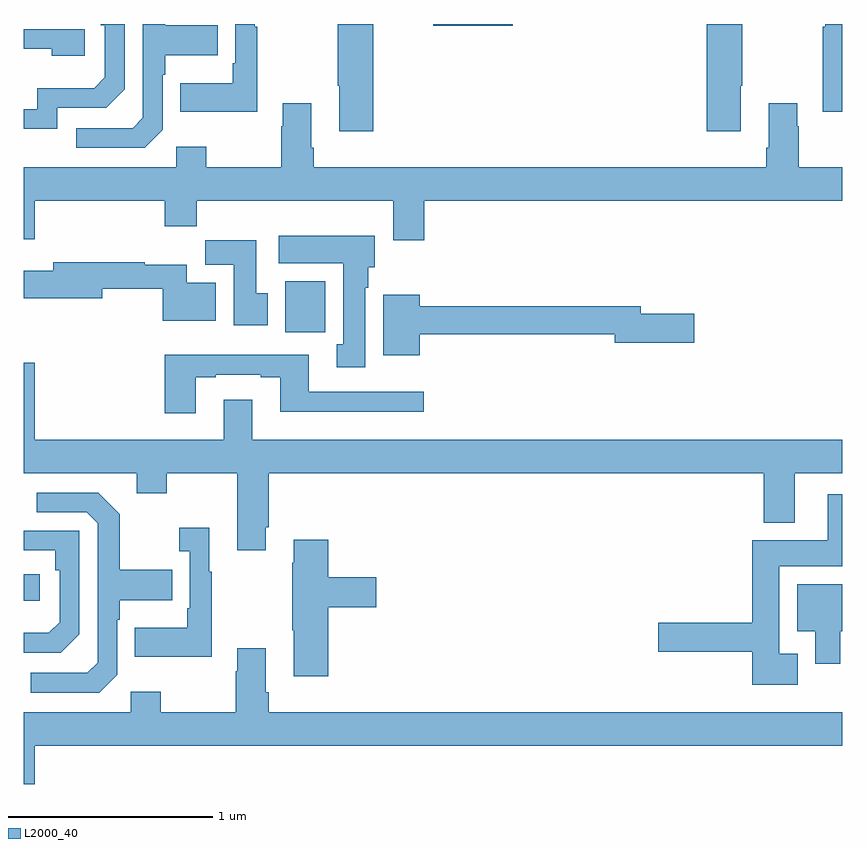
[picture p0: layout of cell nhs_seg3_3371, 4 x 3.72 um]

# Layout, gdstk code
import gdstk
lib = gdstk.Library(unit=1e-6, precision=1e-09)
def R(c, l, rs):  # rectangles x0, y0, x1, y1
    for r in rs: c.add(gdstk.rectangle(r[:2], r[2:], *l))
def P(c, l, *ps):  # polygons
    for p in ps: c.add(gdstk.Polygon(p, *l))
L2000_40 = (2000, 40)

nhs_seg3_3371 = lib.new_cell('nhs_seg3_3371')
R(nhs_seg3_3371, L2000_40, [(285,745.58,285.076,745.71), (286.277,746.892,286.473,747.142), (287,748.391,287.389,748.4)])
P(nhs_seg3_3371, L2000_40, [(288.505,748.099),(288.513,748.099),(288.513,748.4),(288.338,748.4),(288.338,747.876),(288.505,747.876)],
  [(285.162,747.99),(285.402,747.99),(285.492,748.08),(285.492,748.4),(285.376,748.4),(285.376,748.394),(285.396,748.394),(285.396,748.14),(285.343,748.087),(285.066,748.087),(285.066,747.984),(285,747.984),(285,747.888),(285.162,747.888)],
  [(285.678,747.882),(285.678,748.151),(285.691,748.151),(285.691,748.247),(285.947,748.247),(285.947,748.395),(285.691,748.395),(285.691,748.4),(285.582,748.4),(285.582,747.942),(285.531,747.891),(285.255,747.891),(285.255,747.795),(285.591,747.795)],
  [(286.141,748.387),(286.129,748.387),(286.129,748.4),(286.032,748.4),(286.032,748.207),(286.02,748.207),(286.02,748.111),(285.763,748.111),(285.763,747.971),(286.141,747.971)],
  [(289,748.4),(288.917,748.4),(288.917,748.387),(288.906,748.387),(288.906,747.971),(289,747.971)],
  [(286.709,748.4),(286.534,748.4),(286.534,748.099),(286.541,748.099),(286.541,747.876),(286.709,747.876)],
  [(285.298,748.374),(285,748.374),(285,748.278),(285.137,748.278),(285.137,748.244),(285.298,748.244)],
  [(286.958,747.536),(289,747.536),(289,747.7),(288.789,747.7),(288.789,747.899),(288.781,747.899),(288.781,748.012),(288.641,748.012),(288.641,747.796),(288.629,747.796),(288.629,747.7),(286.418,747.7),(286.418,747.796),(286.405,747.796),(286.405,748.012),(286.265,748.012),(286.265,747.899),(286.258,747.899),(286.258,747.7),(285.891,747.7),(285.891,747.799),(285.744,747.799),(285.744,747.7),(285,747.7),(285,747.348),(285.052,747.348),(285.052,747.536),(285.689,747.536),(285.689,747.412),(285.845,747.412),(285.845,747.536),(286.805,747.536),(286.805,747.342),(286.958,747.342)],
  [(286.669,747.11),(286.684,747.11),(286.684,747.21),(286.714,747.21),(286.714,747.364),(286.245,747.364),(286.245,747.23),(286.562,747.23),(286.562,746.833),(286.529,746.833),(286.529,746.721),(286.669,746.721)],
  [(286.192,747.084),(286.135,747.084),(286.135,747.343),(285.886,747.343),(285.886,747.224),(286.025,747.224),(286.025,746.928),(286.192,746.928)],
  [(285.937,747.136),(285.796,747.136),(285.796,747.224),(285.59,747.224),(285.59,747.235),(285.143,747.235),(285.143,747.193),(285,747.193),(285,747.059),(285.382,747.059),(285.382,747.106),(285.679,747.106),(285.679,746.948),(285.937,746.948)],
  [(286.936,746.884),(287.888,746.884),(287.888,746.842),(288.277,746.842),(288.277,746.984),(288.016,746.984),(288.016,747.02),(286.936,747.02),(286.936,747.076),(286.757,747.076),(286.757,746.78),(286.936,746.78)],
  [(285.841,746.673),(285.937,746.673),(285.937,746.685),(286.157,746.685),(286.157,746.673),(286.253,746.673),(286.253,746.504),(286.954,746.504),(286.954,746.601),(286.393,746.601),(286.393,746.782),(285.689,746.782),(285.689,746.496),(285.841,746.496)],
  [(286.183,745.939),(286.196,745.939),(286.196,746.204),(288.617,746.204),(288.617,745.961),(288.769,745.961),(288.769,746.204),(289,746.204),(289,746.368),(286.117,746.368),(286.117,746.563),(285.977,746.563),(285.977,746.368),(285.052,746.368),(285.052,746.743),(285,746.743),(285,746.204),(285.551,746.204),(285.551,746.105),(285.699,746.105),(285.699,746.204),(286.043,746.204),(286.043,745.827),(286.183,745.827)],
  [(285.456,745.218),(285.456,745.487),(285.469,745.487),(285.469,745.583),(285.725,745.583),(285.725,745.731),(285.469,745.731),(285.469,746.003),(285.363,746.109),(285.063,746.109),(285.063,746.013),(285.306,746.013),(285.36,745.959),(285.36,745.278),(285.309,745.227),(285.033,745.227),(285.033,745.131),(285.369,745.131)],
  [(288.784,745.321),(288.694,745.321),(288.694,745.748),(289,745.748),(289,746.101),(288.929,746.101),(288.929,745.876),(288.56,745.876),(288.56,745.472),(288.102,745.472),(288.102,745.33),(288.56,745.33),(288.56,745.169),(288.784,745.169)],
  [(285.919,745.723),(285.907,745.723),(285.907,745.936),(285.759,745.936),(285.759,745.823),(285.81,745.823),(285.81,745.543),(285.798,745.543),(285.798,745.447),(285.541,745.447),(285.541,745.307),(285.919,745.307)],
  [(285.27,745.416),(285.27,745.923),(285,745.923),(285,745.827),(285.154,745.827),(285.154,745.73),(285.174,745.73),(285.174,745.476),(285.121,745.423),(285,745.423),(285,745.326),(285.18,745.326)],
  [(286.487,745.547),(286.723,745.547),(286.723,745.694),(286.487,745.694),(286.487,745.879),(286.319,745.879),(286.319,745.766),(286.312,745.766),(286.312,745.435),(286.319,745.435),(286.319,745.212),(286.487,745.212)],
  [(288.991,745.43),(289,745.43),(289,745.66),(288.782,745.66),(288.782,745.43),(288.869,745.43),(288.869,745.272),(288.991,745.272)],
  [(285.052,744.872),(289,744.872),(289,745.036),(286.196,745.036),(286.196,745.132),(286.183,745.132),(286.183,745.348),(286.043,745.348),(286.043,745.235),(286.036,745.235),(286.036,745.036),(285.669,745.036),(285.669,745.135),(285.522,745.135),(285.522,745.036),(285,745.036),(285,744.684),(285.052,744.684)])

lib.write_gds('nhs_seg3_3371.gds')
